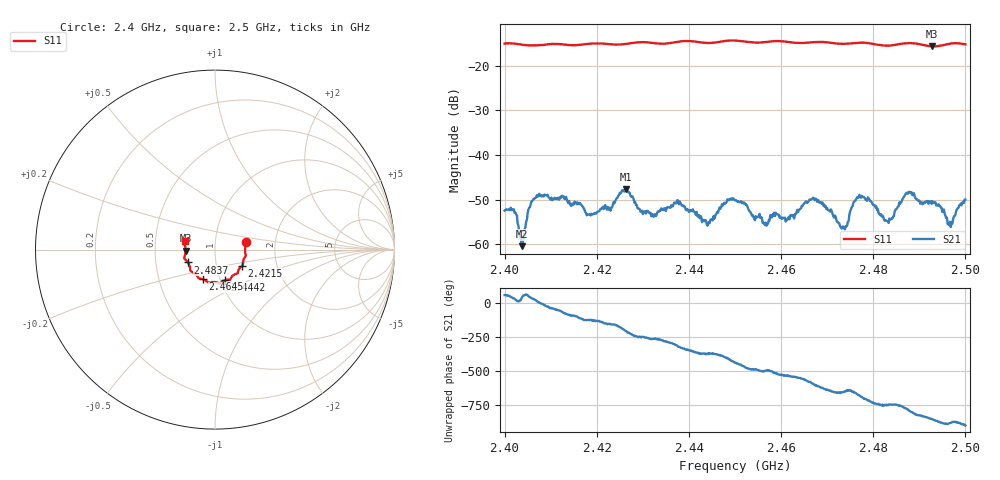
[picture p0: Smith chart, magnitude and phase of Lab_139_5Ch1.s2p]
# Hz S RI R 50
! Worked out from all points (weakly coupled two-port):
!   601 points, 2.4 GHz to 2.5 GHz, reference 50 ohm
!   highest |S21| = -47.67 dB at 2.4263 GHz (marker M1); lowest = -60.4 dB at 2.4038 GHz (marker M2)
!   lowest |S11| = -15.7 dB at 2.4928 GHz (marker M3), VSWR 1.39, Z = 35.9 - j0.385 ohm
!   |S11| at or under -10 dB: start of sweep to end of sweep
!   S12 and S22 are empty: the file has one direction only
!   S11 on the Smith chart (normalised r, x): 2.4 GHz: 1.41, +0.12; 2.4215 GHz: 1.33, -0.25; 2.4442 GHz: 1.05, -0.37; 2.4645 GHz: 0.83, -0.29; 2.4837 GHz: 0.73, -0.11; 2.5 GHz: 0.71, +0.07
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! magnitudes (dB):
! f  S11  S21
! 2.4 GHz  -15.1  -52.5
! 2.4022 GHz  -15.1  -53.0
! 2.4038 GHz  -15.3  -60.4
! 2.407 GHz  -15.5  -49.0
! 2.4167 GHz  -15.3  -51.2
! 2.4215 GHz  -15.1  -52.1
! 2.4263 GHz  -15.2  -47.7
! 2.4333 GHz  -15.1  -52.6
! 2.4378 GHz  -14.6  -51.0
! 2.4442 GHz  -15.0  -55.5
! 2.45 GHz  -14.4  -50.1
! 2.4565 GHz  -14.8  -55.7
! 2.4645 GHz  -15.0  -51.4
! 2.4667 GHz  -14.8  -49.9
! 2.4733 GHz  -15.2  -56.1
! 2.477 GHz  -14.9  -48.9
! 2.4833 GHz  -15.6  -55.2
! 2.4837 GHz  -15.5  -54.4
! 2.4875 GHz  -15.0  -48.7
! 2.4928 GHz  -15.7  -50.3
! 2.4967 GHz  -15.1  -55.0
! 2.5 GHz  -15.3  -50.0
